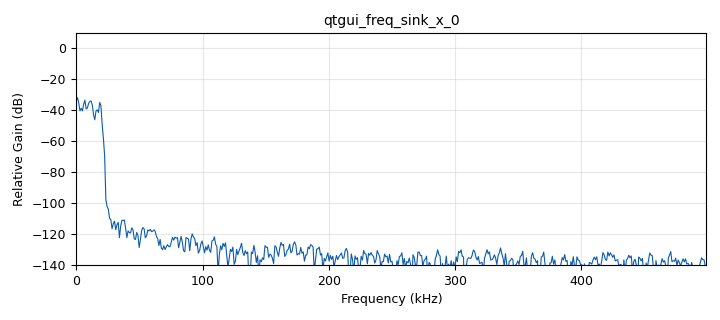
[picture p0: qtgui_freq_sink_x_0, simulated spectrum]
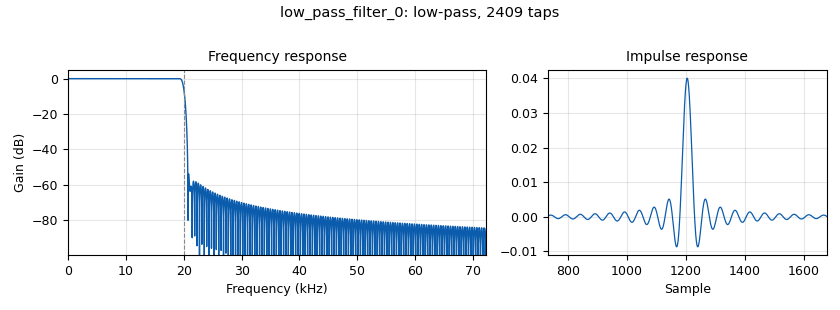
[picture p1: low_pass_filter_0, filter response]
options:
  parameters:
    author: lucky
    generate_options: qt_gui
    id: white_noise
    output_language: python
    title: Not titled yet
  states: {}

blocks:
- name: range_trans
  id: variable_qtgui_range
  parameters:
    start: '1000'
    step: '1000'
    stop: '10000'
    value: '1000'
  states: {}
- name: samp_rate
  id: variable
  parameters:
    value: '1000000'
  states: {}
- name: analog_noise_source_x_0
  id: analog_noise_source_x
  parameters:
    amp: '1'
    noise_type: analog.GR_GAUSSIAN
    seed: '0'
    type: float
  states: {}
- name: blocks_throttle_0
  id: blocks_throttle
  parameters:
    samples_per_second: samp_rate
    type: float
  states: {}
- name: low_pass_filter_0
  id: low_pass_filter
  parameters:
    cutoff_freq: '20000'
    gain: '1'
    interp: '1'
    samp_rate: samp_rate
    type: interp_fir_filter_fff
    width: range_trans
    win: window.WIN_HAMMING
  states: {}
- name: qtgui_freq_sink_x_0
  id: qtgui_freq_sink_x
  parameters:
    bw: samp_rate
    ctrlpanel: 'True'
    fc: '0'
    fftsize: '1024'
    freqhalf: 'False'
    type: float
  states: {}

connections:
- [analog_noise_source_x_0, '0', low_pass_filter_0, '0']
- [blocks_throttle_0, '0', qtgui_freq_sink_x_0, '0']
- [low_pass_filter_0, '0', blocks_throttle_0, '0']

metadata:
  file_format: 1
